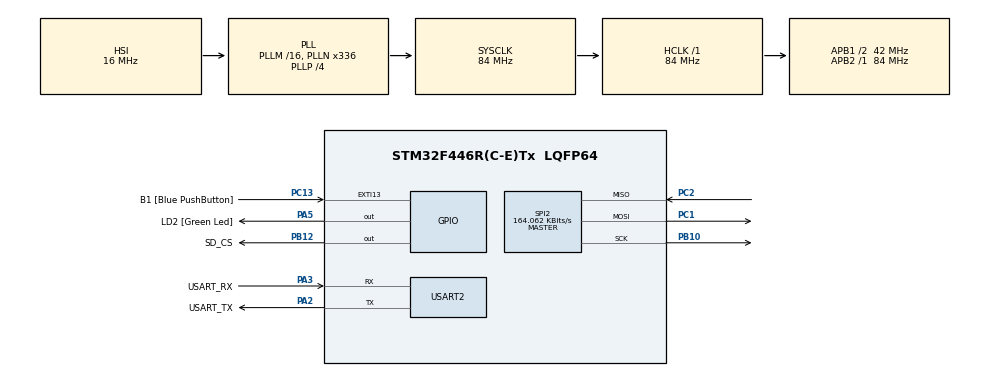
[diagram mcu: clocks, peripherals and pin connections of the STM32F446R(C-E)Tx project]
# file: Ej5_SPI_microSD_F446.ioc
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Mcu.Family=STM32F4
Mcu.Name=STM32F446R(C-E)Tx
Mcu.Package=LQFP64
NVIC.PriorityGroup=NVIC_PRIORITYGROUP_0
PA13.GPIO_Label=TMS
PA13.Mode=Serial_Wire
PA13.Signal=SYS_JTMS-SWDIO
PA14.GPIO_Label=TCK
PA14.Mode=Serial_Wire
PA14.Signal=SYS_JTCK-SWCLK
PA2.GPIO_Label=USART_TX
PA2.Mode=Asynchronous
PA2.Signal=USART2_TX
PA3.GPIO_Label=USART_RX
PA3.Mode=Asynchronous
PA3.Signal=USART2_RX
PA5.GPIO_Label=LD2 [Green Led]
PA5.Signal=GPIO_Output
PB10.Mode=Full_Duplex_Master
PB10.Signal=SPI2_SCK
PB12.GPIO_Label=SD_CS
PB12.GPIO_Speed=GPIO_SPEED_FREQ_HIGH
PB12.PinState=GPIO_PIN_SET
PB12.Signal=GPIO_Output
PB3.GPIO_Label=SWO
PB3.Signal=SYS_JTDO-SWO
PC1.Mode=Full_Duplex_Master
PC1.Signal=SPI2_MOSI
PC13.GPIO_Label=B1 [Blue PushButton]
PC13.GPIO_ModeDefaultEXTI=GPIO_MODE_IT_FALLING
PC13.Signal=GPXTI13
PC14-OSC32_IN.Mode=LSE-External-Oscillator
PC14-OSC32_IN.Signal=RCC_OSC32_IN
PC15-OSC32_OUT.Mode=LSE-External-Oscillator
PC15-OSC32_OUT.Signal=RCC_OSC32_OUT
PC2.Mode=Full_Duplex_Master
PC2.Signal=SPI2_MISO
PH0-OSC_IN.Mode=HSE-External-Oscillator
PH0-OSC_IN.Signal=RCC_OSC_IN
PH1-OSC_OUT.Mode=HSE-External-Oscillator
PH1-OSC_OUT.Signal=RCC_OSC_OUT
ProjectManager.HeapSize=0x200
ProjectManager.StackSize=0x400
ProjectManager.TargetToolchain=STM32CubeIDE
RCC.48MHZClocksFreq_Value=84000000
RCC.AHBFreq_Value=84000000
RCC.APB1CLKDivider=RCC_HCLK_DIV2
RCC.APB1Freq_Value=42000000
RCC.APB1TimFreq_Value=84000000
RCC.APB2Freq_Value=84000000
RCC.APB2TimFreq_Value=84000000
RCC.CortexFreq_Value=84000000
RCC.FLatency-AdvancedSettings=FLASH_LATENCY_2
RCC.HCLKFreq_Value=84000000
RCC.HSE_VALUE=8000000
RCC.HSI_VALUE=16000000
RCC.PLLN=336
RCC.PLLP=RCC_PLLP_DIV4
RCC.SYSCLKFreq_VALUE=84000000
RCC.SYSCLKSource=RCC_SYSCLKSOURCE_PLLCLK
RCC.USBFreq_Value=168000000
RCC.VCOOutputFreq_Value=336000000
SPI2.BaudRatePrescaler=SPI_BAUDRATEPRESCALER_256
SPI2.CalculateBaudRate=164.062 KBits/s
SPI2.Direction=SPI_DIRECTION_2LINES
SPI2.Mode=SPI_MODE_MASTER
SPI2.VirtualType=VM_MASTER
USART2.VirtualMode=VM_ASYNC
VP_FATFS_VS_Generic.Mode=User_defined
board=NUCLEO-F446RE

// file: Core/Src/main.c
/* USER CODE BEGIN Header */
/**
  ******************************************************************************
  * @file           : main.c
  * @brief          : Aplicacion de prueba para escritura y lectura de una
  *                   tarjeta microSD utilizando SPI2 y FatFs.
  *
  * Esta aplicacion inicializa los perifericos GPIO, USART2, SPI2 y FatFs.
  * Luego monta el sistema de archivos de la tarjeta microSD, crea un archivo
  * llamado datos.csv, escribe un encabezado y una serie de lineas de datos en
  * formato CSV. Posteriormente cierra el archivo, lo abre nuevamente en modo
  * lectura, muestra su contenido por UART y finalmente desmonta el sistema de
  * archivos.
  *
  * El objetivo didactico del ejemplo es mostrar que la aplicacion trabaja con
  * funciones de alto nivel de FatFs, como f_mount(), f_open(), f_write(),
  * f_read() y f_close(). Por debajo, FatFs utiliza la capa Disk I/O y el driver
  * de la tarjeta SD para realizar las transferencias mediante el periferico SPI.
  *
  * En este ejemplo, SPI no crea archivos ni interpreta el formato CSV. SPI solo
  * transporta bytes entre el STM32 y la tarjeta microSD. La organizacion de esos
  * bytes como archivo corresponde al sistema de archivos FatFs.
  ******************************************************************************
  * @attention
  *
  * Copyright (c) 2026 STMicroelectronics.
  * All rights reserved.
  *
  * This software is licensed under terms that can be found in the LICENSE file
  * in the root directory of this software component.
  * If no LICENSE file comes with this software, it is provided AS-IS.
  *
  ******************************************************************************
  */
/* USER CODE END Header */
#include "main.h"
#include "fatfs.h"
#include <stdio.h>
#include <string.h>

SPI_HandleTypeDef hspi2;

UART_HandleTypeDef huart2;

void SystemClock_Config(void);
static void MX_GPIO_Init(void);
static void MX_USART2_UART_Init(void);
static void MX_SPI2_Init(void);

/* USER CODE BEGIN 0 */
void uart_print(const char *msg)
{
  HAL_UART_Transmit(&huart2, (uint8_t*)msg, strlen(msg), HAL_MAX_DELAY);
}
/* USER CODE END 0 */

int main(void)
{

  /* MCU Configuration--------------------------------------------------------*/

  /* Reset of all peripherals, Initializes the Flash interface and the Systick. */
  HAL_Init();

  /* Configure the system clock */
  SystemClock_Config();

  /* Initialize all configured peripherals */
  MX_GPIO_Init();
  MX_USART2_UART_Init();
  MX_SPI2_Init();
  MX_FATFS_Init();
  /* USER CODE BEGIN 2 */
  HAL_Delay(1000);

  uart_print("\r\n====================================\r\n");
  uart_print("Prueba microSD con NUCLEO-F446RE\r\n");
  uart_print("SPI2 + FatFs\r\n");
  uart_print("====================================\r\n");

  FRESULT res;
  FIL archivo;
  UINT bytes_escritos;
  UINT bytes_leidos;

  char linea[80];
  char buffer_lectura[128];
  char ruta_archivo[32];

  snprintf(ruta_archivo, sizeof(ruta_archivo), "%s%s", USERPath, "datos.csv");

  uart_print("Montando sistema de archivos...\r\n");

  res = f_mount(&USERFatFS, USERPath, 1);

  if (res != FR_OK)
  {
    snprintf(linea, sizeof(linea), "ERROR: f_mount fallo. Codigo: %d\r\n", res);
    uart_print(linea);
  }
  else
  {
    uart_print("Sistema de archivos montado correctamente.\r\n");

    uart_print("Creando archivo datos.csv...\r\n");

    res = f_open(&archivo, ruta_archivo, FA_CREATE_ALWAYS | FA_WRITE);

    if (res != FR_OK)
    {
      snprintf(linea, sizeof(linea), "ERROR: f_open escritura fallo. Codigo: %d\r\n", res);
      uart_print(linea);
    }
    else
    {
      uart_print("Archivo creado correctamente.\r\n");
      uart_print("Escribiendo datos...\r\n");

      char encabezado[] = "origen,contador\r\n";

      res = f_write(&archivo, encabezado, strlen(encabezado), &bytes_escritos);

      if (res != FR_OK)
      {
        snprintf(linea, sizeof(linea), "ERROR: f_write encabezado fallo. Codigo: %d\r\n", res);
        uart_print(linea);
      }
      else
      {
        for (int contador = 0; contador <= 20; contador++)
        {
          snprintf(linea, sizeof(linea), "NUCLEO-F446RE,%d\r\n", contador);

          res = f_write(&archivo, linea, strlen(linea), &bytes_escritos);

          if (res != FR_OK)
          {
            snprintf(linea, sizeof(linea), "ERROR: f_write fallo. Codigo: %d\r\n", res);
            uart_print(linea);
            break;
          }

          snprintf(linea, sizeof(linea), "Dato escrito desde NUCLEO: %d\r\n", contador);
          uart_print(linea);

          HAL_Delay(300);
        }
      }
      f_close(&archivo);
      uart_print("Archivo cerrado correctamente.\r\n");
    }

    uart_print("\r\nAbriendo archivo para lectura...\r\n");

    res = f_open(&archivo, ruta_archivo, FA_READ);

    if (res != FR_OK)
    {
      snprintf(linea, sizeof(linea), "ERROR: f_open lectura fallo. Codigo: %d\r\n", res);
      uart_print(linea);
    }
    else
    {
      uart_print("Contenido de datos.csv:\r\n");
      uart_print("--------------------------------\r\n");

      do
      {
        memset(buffer_lectura, 0, sizeof(buffer_lectura));

        res = f_read(&archivo, buffer_lectura, sizeof(buffer_lectura) - 1, &bytes_leidos);

        if (res == FR_OK && bytes_leidos > 0)
        {
          HAL_UART_Transmit(&huart2, (uint8_t*)buffer_lectura, bytes_leidos, HAL_MAX_DELAY);
        }

      } while (res == FR_OK && bytes_leidos > 0);

      f_close(&archivo);

      uart_print("\r\n--------------------------------\r\n");
      uart_print("Lectura finalizada.\r\n");
    }

    f_mount(NULL, USERPath, 1);
    uart_print("Sistema de archivos desmontado.\r\n");
  }

  /* USER CODE END 2 */

  /* Infinite loop */
  while (1)
  {

  }
}

void SystemClock_Config(void)
{
  RCC_OscInitTypeDef RCC_OscInitStruct = {0};
  RCC_ClkInitTypeDef RCC_ClkInitStruct = {0};

  /** Configure the main internal regulator output voltage
  */
  __HAL_RCC_PWR_CLK_ENABLE();
  __HAL_PWR_VOLTAGESCALING_CONFIG(PWR_REGULATOR_VOLTAGE_SCALE3);

  /** Initializes the RCC Oscillators according to the specified parameters
  * in the RCC_OscInitTypeDef structure.
  */
  RCC_OscInitStruct.OscillatorType = RCC_OSCILLATORTYPE_HSI;
  RCC_OscInitStruct.HSIState = RCC_HSI_ON;
  RCC_OscInitStruct.HSICalibrationValue = RCC_HSICALIBRATION_DEFAULT;
  RCC_OscInitStruct.PLL.PLLState = RCC_PLL_ON;
  RCC_OscInitStruct.PLL.PLLSource = RCC_PLLSOURCE_HSI;
  RCC_OscInitStruct.PLL.PLLM = 16;
  RCC_OscInitStruct.PLL.PLLN = 336;
  RCC_OscInitStruct.PLL.PLLP = RCC_PLLP_DIV4;
  RCC_OscInitStruct.PLL.PLLQ = 2;
  RCC_OscInitStruct.PLL.PLLR = 2;
  if (HAL_RCC_OscConfig(&RCC_OscInitStruct) != HAL_OK)
  {
    Error_Handler();
  }

  /** Initializes the CPU, AHB and APB buses clocks
  */
  RCC_ClkInitStruct.ClockType = RCC_CLOCKTYPE_HCLK|RCC_CLOCKTYPE_SYSCLK
                              |RCC_CLOCKTYPE_PCLK1|RCC_CLOCKTYPE_PCLK2;
  RCC_ClkInitStruct.SYSCLKSource = RCC_SYSCLKSOURCE_PLLCLK;
  RCC_ClkInitStruct.AHBCLKDivider = RCC_SYSCLK_DIV1;
  RCC_ClkInitStruct.APB1CLKDivider = RCC_HCLK_DIV2;
  RCC_ClkInitStruct.APB2CLKDivider = RCC_HCLK_DIV1;

  if (HAL_RCC_ClockConfig(&RCC_ClkInitStruct, FLASH_LATENCY_2) != HAL_OK)
  {
    Error_Handler();
  }
}

static void MX_SPI2_Init(void)
{

  /* SPI2 parameter configuration*/
  hspi2.Instance = SPI2;
  hspi2.Init.Mode = SPI_MODE_MASTER;
  hspi2.Init.Direction = SPI_DIRECTION_2LINES;
  hspi2.Init.DataSize = SPI_DATASIZE_8BIT;
  hspi2.Init.CLKPolarity = SPI_POLARITY_LOW;
  hspi2.Init.CLKPhase = SPI_PHASE_1EDGE;
  hspi2.Init.NSS = SPI_NSS_SOFT;
  hspi2.Init.BaudRatePrescaler = SPI_BAUDRATEPRESCALER_256;
  hspi2.Init.FirstBit = SPI_FIRSTBIT_MSB;
  hspi2.Init.TIMode = SPI_TIMODE_DISABLE;
  hspi2.Init.CRCCalculation = SPI_CRCCALCULATION_DISABLE;
  hspi2.Init.CRCPolynomial = 10;
  if (HAL_SPI_Init(&hspi2) != HAL_OK)
  {
    Error_Handler();
  }

}

static void MX_USART2_UART_Init(void)
{

  huart2.Instance = USART2;
  huart2.Init.BaudRate = 115200;
  huart2.Init.WordLength = UART_WORDLENGTH_8B;
  huart2.Init.StopBits = UART_STOPBITS_1;
  huart2.Init.Parity = UART_PARITY_NONE;
  huart2.Init.Mode = UART_MODE_TX_RX;
  huart2.Init.HwFlowCtl = UART_HWCONTROL_NONE;
  huart2.Init.OverSampling = UART_OVERSAMPLING_16;
  if (HAL_UART_Init(&huart2) != HAL_OK)
  {
    Error_Handler();
  }

}

static void MX_GPIO_Init(void)
{
  GPIO_InitTypeDef GPIO_InitStruct = {0};

  /* GPIO Ports Clock Enable */
  __HAL_RCC_GPIOC_CLK_ENABLE();
  __HAL_RCC_GPIOH_CLK_ENABLE();
  __HAL_RCC_GPIOA_CLK_ENABLE();
  __HAL_RCC_GPIOB_CLK_ENABLE();

  /*Configure GPIO pin Output Level */
  HAL_GPIO_WritePin(LD2_GPIO_Port, LD2_Pin, GPIO_PIN_RESET);

  /*Configure GPIO pin Output Level */
  HAL_GPIO_WritePin(SD_CS_GPIO_Port, SD_CS_Pin, GPIO_PIN_SET);

  /*Configure GPIO pin : B1_Pin */
  GPIO_InitStruct.Pin = B1_Pin;
  GPIO_InitStruct.Mode = GPIO_MODE_IT_FALLING;
  GPIO_InitStruct.Pull = GPIO_NOPULL;
  HAL_GPIO_Init(B1_GPIO_Port, &GPIO_InitStruct);

  /*Configure GPIO pin : LD2_Pin */
  GPIO_InitStruct.Pin = LD2_Pin;
  GPIO_InitStruct.Mode = GPIO_MODE_OUTPUT_PP;
  GPIO_InitStruct.Pull = GPIO_NOPULL;
  GPIO_InitStruct.Speed = GPIO_SPEED_FREQ_LOW;
  HAL_GPIO_Init(LD2_GPIO_Port, &GPIO_InitStruct);

  /*Configure GPIO pin : SD_CS_Pin */
  GPIO_InitStruct.Pin = SD_CS_Pin;
  GPIO_InitStruct.Mode = GPIO_MODE_OUTPUT_PP;
  GPIO_InitStruct.Pull = GPIO_NOPULL;
  GPIO_InitStruct.Speed = GPIO_SPEED_FREQ_HIGH;
  HAL_GPIO_Init(SD_CS_GPIO_Port, &GPIO_InitStruct);

}

void Error_Handler(void)
{
  __disable_irq();
  while (1)
  {
  }
}
